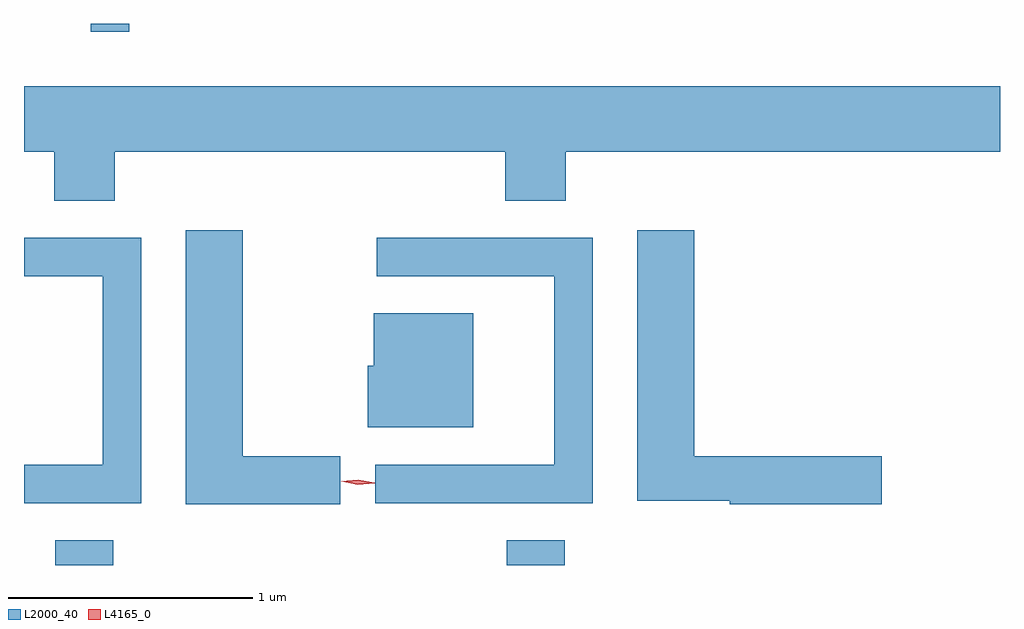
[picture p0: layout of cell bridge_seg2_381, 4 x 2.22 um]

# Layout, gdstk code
import gdstk
lib = gdstk.Library(unit=1e-6, precision=1e-09)
def R(c, l, rs):  # rectangles x0, y0, x1, y1
    for r in rs: c.add(gdstk.rectangle(r[:2], r[2:], *l))
def P(c, l, *ps):  # polygons
    for p in ps: c.add(gdstk.Polygon(p, *l))
L2000_40 = (2000, 40)
L4165_0 = (4165, 0)

bridge_seg2_381 = lib.new_cell('bridge_seg2_381')
R(bridge_seg2_381, L2000_40, [(597.306,977.802,597.544,977.904), (599.156,977.802,599.394,977.904), (597.451,979.988,597.609,980.02)])
P(bridge_seg2_381, L2000_40, [(597.549,979.496),(599.151,979.496),(599.151,979.296),(599.399,979.296),(599.399,979.496),(601.178,979.496),(601.178,979.764),(597.178,979.764),(597.178,979.496),(597.301,979.496),(597.301,979.296),(597.549,979.296)],
  [(600.694,978.249),(599.924,978.249),(599.924,979.174),(599.691,979.174),(599.691,978.066),(600.07,978.066),(600.07,978.051),(600.694,978.051)],
  [(598.474,978.249),(598.074,978.249),(598.074,979.174),(597.841,979.174),(597.841,978.051),(598.474,978.051)],
  [(599.509,979.144),(598.623,979.144),(598.623,978.986),(599.351,978.986),(599.351,978.214),(598.618,978.214),(598.618,978.056),(599.509,978.056)],
  [(597.659,979.144),(597.178,979.144),(597.178,978.986),(597.501,978.986),(597.501,978.214),(597.178,978.214),(597.178,978.056),(597.659,978.056)],
  [(599.019,978.834),(598.611,978.834),(598.611,978.619),(598.586,978.619),(598.586,978.366),(599.019,978.366)])
P(bridge_seg2_381, L4165_0, [(598.546,978.132),(598.481,978.145),(598.481,978.145),(598.481,978.146),(598.547,978.152),(598.612,978.138),(598.612,978.138),(598.612,978.137)],
  [(598.546,978.132),(598.478,978.145),(598.478,978.145),(598.478,978.146),(598.547,978.152),(598.615,978.139),(598.615,978.139),(598.615,978.138)])

lib.write_gds('bridge_seg2_381.gds')
